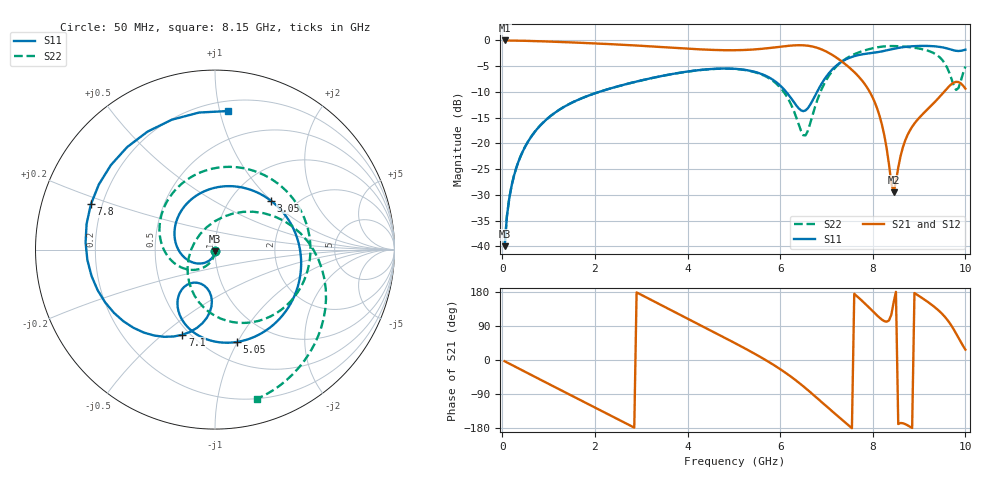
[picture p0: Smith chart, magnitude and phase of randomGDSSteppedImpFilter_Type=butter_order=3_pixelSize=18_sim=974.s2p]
! freq	dB(S11)	phase(S11)	dB(S12)	phase(S12)
!  dB(S21)	phase(S21)	dB(S22)	phase(S22)
!S-par simulation data
#  GHz  S  DB  R 50
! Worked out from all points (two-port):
!   200 points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, 50 MHz to 10 GHz, reference 50 ohm
!   highest |S21| = -0.01 dB at 50 MHz (marker M1); lowest = -29.5 dB at 8.45 GHz (marker M2)
!   |S21| within 3 dB of the highest: start of sweep to 7.16 GHz
!   lowest |S11| = -40.0 dB at 50 MHz (marker M3), VSWR 1.02, Z = 50 - j1 ohm
!   |S11| at or under -10 dB: start of sweep to 2.091 GHz; 6.131 GHz to 6.796 GHz (665.7 MHz wide, 10.3 % of centre)
!   |S22| runs from -39.9 to -1.1 dB; largest |S21 - S12| = 0
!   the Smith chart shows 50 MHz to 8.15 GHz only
!   S11 on the Smith chart (normalised r, x): 50 MHz: 1.00, -0.02; 3.05 GHz: 1.51, +0.99; 5.05 GHz: 0.70, -0.99; 7.1 GHz: 0.46, -0.59; 7.8 GHz: 0.16, +0.17; 8.15 GHz: 0.27, +1.06
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0.05  -39.95 -91.3  -0.01 -3.2  -0.01 -3.2  -39.93 -90.1
0.2  -28.25 -105.0  -0.03 -12.7  -0.03 -12.7  -28.23 -100.0
0.5  -20.53 -128.4  -0.08 -31.6  -0.08 -31.6  -20.51 -115.8
1.15  -13.96 -177.9  -0.27 -72.3  -0.27 -72.3  -13.94 -148.3
1.75  -11.11 136.3  -0.49 -109.7  -0.49 -109.7  -11.10 -177.3
3.05  -7.66 41.2  -1.07 169.0  -1.07 169.0  -7.68 115.5
3.4  -6.98 18.0  -1.27 146.9  -1.27 146.9  -7.00 94.8
4.2  -5.81 -30.1  -1.70 96.6  -1.70 96.6  -5.83 43.3
5.05  -5.53 -76.6  -1.90 42.9  -1.90 42.9  -5.56 -16.1
6  -8.75 -125.0  -1.23 -24.0  -1.23 -24.0  -9.14 -95.5
6.5  -13.73 -112.6  -0.95 -69.3  -0.95 -69.3  -18.41 157.7
6.7  -11.67 -94.6  -1.19 -90.0  -1.19 -90.0  -14.50 75.8
7.1  -5.88 -110.9  -2.68 -132.9  -2.68 -132.9  -6.26 10.6
7.45  -3.55 -148.0  -4.94 -169.5  -4.94 -169.5  -3.38 -24.1
7.8  -2.66 160.0  -8.16 152.6  -8.16 152.6  -2.01 -51.0
8.15  -2.21 84.6  -14.77 111.2  -14.77 111.2  -1.27 -74.4
8.35  -1.83 36.7  -24.08 104.4  -24.08 104.4  -1.10 -87.3
8.45  -1.63 14.8  -29.51 151.7  -29.51 151.7  -1.10 -93.6
8.9  -1.11 -56.1  -16.14 176.7  -16.14 176.7  -1.43 -121.1
9.45  -1.27 -104.0  -10.89 127.5  -10.89 127.5  -3.32 -170.7
9.75  -1.93 -120.1  -8.19 80.4  -8.19 80.4  -8.78 103.4
10  -1.80 -126.9  -9.37 27.4  -9.37 27.4  -5.06 -33.5
